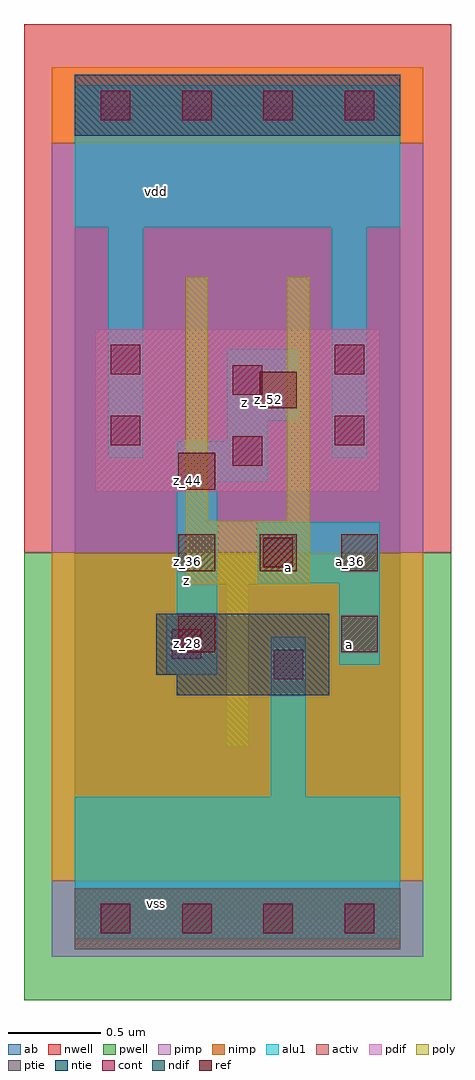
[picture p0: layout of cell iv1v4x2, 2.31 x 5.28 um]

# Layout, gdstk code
import gdstk
lib = gdstk.Library(unit=1e-6, precision=2.5e-09)
def R(c, l, rs):  # rectangles x0, y0, x1, y1
    for r in rs: c.add(gdstk.rectangle(r[:2], r[2:], *l))
def A(c, l, x, y, w, h, nx, ny, dx, dy):  # array of equal rectangles
    R(c, l, [(x+i*dx, y+j*dy, x+i*dx+w, y+j*dy+h) for i in range(nx) for j in range(ny)])
ndif = (3, 0)
pdif = (4, 0)
ntie = (5, 0)
ptie = (6, 0)
ref = (24, 0)
cont = (25, 0)
pwell = (41, 0)
nwell = (42, 0)
activ = (43, 0)
pimp = (44, 0)
nimp = (45, 0)
poly = (46, 0)
alu1 = (49, 0)
ab = (63, 0)

iv1v4x2 = lib.new_cell('iv1v4x2')
R(iv1v4x2, ndif, [(0.55,1.21,1.375,1.32), (0.44,1.32,1.375,1.65)])
R(iv1v4x2, pdif, [(0.11,2.31,1.65,3.19)])
R(iv1v4x2, ntie, [(0,4.235,1.76,4.565)])
R(iv1v4x2, ptie, [(0,-0.165,1.76,0.165)])
A(iv1v4x2, ref, 0.56, 1.88, 0.2, 0.2, 3, 1, 0.44, 0)
R(iv1v4x2, ref, [(0.56,1.44,0.76,1.64), (1.44,1.44,1.64,1.64), (0.56,2.32,0.76,2.52), (1,2.76,1.2,2.96)])
A(iv1v4x2, cont, 0.14, -0.08, 0.16, 0.16, 4, 2, 0.44, 4.4)
R(iv1v4x2, cont, [(1.075,1.295,1.235,1.455), (0.525,1.405,0.685,1.565), (1.02,1.9,1.18,2.06), (0.855,2.45,1.015,2.61), (0.195,2.56,0.355,2.72), (1.405,2.56,1.565,2.72), (0.855,2.835,1.015,2.995), (0.195,2.945,0.355,3.105), (1.405,2.945,1.565,3.105)])
R(iv1v4x2, pwell, [(-0.275,-0.44,2.035,1.98)])
R(iv1v4x2, nwell, [(-0.275,1.98,2.035,4.84)])
R(iv1v4x2, activ, [(0,-0.165,1.76,0.165), (0.55,1.21,1.375,1.32), (0.44,1.32,1.375,1.65), (0.11,2.31,1.65,3.19), (0,4.235,1.76,4.565)])
R(iv1v4x2, pimp, [(-0.125,-0.205,1.885,0.205), (-0.125,1.98,1.885,4.195)])
R(iv1v4x2, nimp, [(-0.125,0.205,1.885,1.98), (-0.125,4.195,1.885,4.605)])
R(iv1v4x2, poly, [(0.82,0.93,0.94,1.81), (0.6,1.81,1.27,2.15), (0.6,2.15,0.72,3.47), (1.15,2.15,1.27,3.47)])
R(iv1v4x2, alu1, [(0,-0.11,1.76,0.66), (1.06,0.66,1.25,1.525), (0.495,1.32,0.77,1.65), (1.43,1.375,1.65,1.815), (0.55,1.65,0.77,2.365), (0.99,1.815,1.65,2.145), (0.55,2.365,1.045,2.585), (0.18,2.49,0.37,3.74), (1.39,2.49,1.58,3.74), (0.825,2.585,1.045,2.695), (0.825,2.695,1.21,3.08), (0,3.74,1.76,4.51)])
R(iv1v4x2, ab, [(0,0,1.76,4.4)])
iv1v4x2.add(gdstk.Label('vss', (0.44,0.0825), layer=49, texttype=0))
iv1v4x2.add(gdstk.Label('a', (1.485,1.485), layer=49, texttype=0))
iv1v4x2.add(gdstk.Label('a', (1.155,1.8975), layer=49, texttype=0))
iv1v4x2.add(gdstk.Label('z', (0.605,1.8275), layer=49, texttype=0))
iv1v4x2.add(gdstk.Label('z', (0.92,2.79), layer=49, texttype=0))
iv1v4x2.add(gdstk.Label('vdd', (0.44,3.9325), layer=49, texttype=0))
iv1v4x2.add(gdstk.Label('a_36', (1.49,1.93), layer=24, texttype=0))
iv1v4x2.add(gdstk.Label('z_52', (1.05,2.81), layer=24, texttype=0))
iv1v4x2.add(gdstk.Label('z_28', (0.61,1.49), layer=24, texttype=0))
iv1v4x2.add(gdstk.Label('z_36', (0.61,1.93), layer=24, texttype=0))
iv1v4x2.add(gdstk.Label('a_28', (1.49,1.49), layer=24, texttype=0))
iv1v4x2.add(gdstk.Label('a_36', (1.05,1.93), layer=24, texttype=0))
iv1v4x2.add(gdstk.Label('z_44', (0.61,2.37), layer=24, texttype=0))

lib.write_gds('iv1v4x2.gds')
